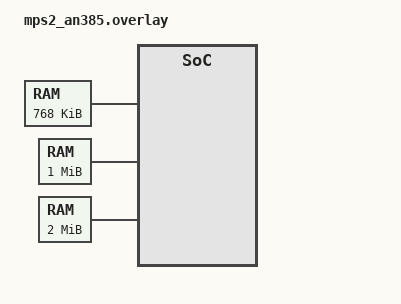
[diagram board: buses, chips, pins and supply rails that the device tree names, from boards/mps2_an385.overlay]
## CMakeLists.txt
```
# Copyright (c) 2026 The Zephyr Project Contributors
#
# SPDX-License-Identifier: Apache-2.0

cmake_minimum_required(VERSION 3.20.0)

find_package(Zephyr REQUIRED HINTS $ENV{ZEPHYR_BASE})
project(mcuboot_ram_load_split)

target_sources(app PRIVATE src/main.c)
zephyr_linker_sources(SECTIONS ram_load_layout.ld)
```

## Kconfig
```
# Copyright (c) 2026 The Zephyr Project Contributors
# SPDX-License-Identifier: Apache-2.0

mainmenu "MCUboot split RAM-load test"

source "Kconfig.zephyr"
```

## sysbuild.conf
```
# Copyright (c) 2026 The Zephyr Project Contributors
#
# SPDX-License-Identifier: Apache-2.0

SB_CONFIG_BOOTLOADER_MCUBOOT=y
SB_CONFIG_BOOT_SIGNATURE_TYPE_ED25519=y
SB_CONFIG_BOOT_SIGNATURE_KEY_FILE="${ZEPHYR_MCUBOOT_MODULE_DIR}/root-ed25519.pem"
SB_CONFIG_MCUBOOT_MODE_RAM_LOAD=y
```

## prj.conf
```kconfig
CONFIG_BOOTLOADER_MCUBOOT=y
```

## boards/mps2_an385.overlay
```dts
/*
 * Copyright (c) 2026 The Zephyr Project Contributors
 *
 * SPDX-License-Identifier: Apache-2.0
 */

/delete-node/ &sram0;
/delete-node/ &{/sim_flash_controller/flash_sim@0/partitions};

/ {
	chosen {
		zephyr,flash = &flash0;
		zephyr,console = &uart0;
		zephyr,sram = &sram0;
		mcuboot,image-ram = &image_ram;

		/delete-property/ zephyr,code-partition;
	};

	image_ram: memory@20240000 {
		compatible = "mmio-sram";
		reg = <0x20240000 0x000c0000>;
	};

	sram0: memory@20300000 {
		compatible = "mmio-sram";
		reg = <0x20300000 0x00100000>;
	};

	flash_sim_region: memory@20040000 {
		compatible = "zephyr,memory-region", "mmio-sram";
		reg = <0x20040000 0x00200000>;
		ranges = <0x0 0x20040000 0x00200000>;
		zephyr,memory-region = "FlashSim";
		status = "okay";
		#address-cells = <1>;
		#size-cells = <1>;
	};
};

&sim_flash_controller {
	memory-region = <&flash_sim_region>;
};

&flash_sim0 {
	reg = <0x00000000 0x00200000>;
	erase-block-size = <4096>;
	write-block-size = <4>;
	#address-cells = <1>;
	#size-cells = <1>;
	ranges = <0x0 0x0 0x00200000>;

	partitions {
		ranges;
		#address-cells = <1>;
		#size-cells = <1>;

		boot_partition: partition@0 {
			compatible = "zephyr,mapped-partition";
			label = "mcuboot";
			reg = <0x00000000 0x00010000>;
		};

		slot0_partition: partition@10000 {
			compatible = "zephyr,mapped-partition";
			label = "image-0";
			reg = <0x00010000 0x00080000>;
		};

		slot1_partition: partition@90000 {
			compatible = "zephyr,mapped-partition";
			label = "image-1";
			reg = <0x00090000 0x00080000>;
		};
	};
};
```

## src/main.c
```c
/*
 * Copyright (c) 2026 The Zephyr Project Contributors
 *
 * SPDX-License-Identifier: Apache-2.0
 */

#include <stdint.h>

#include <zephyr/kernel.h>
#include <zephyr/linker/section_tags.h>

static volatile uint32_t initialized_words[] = {
	0x11223344,
	0x55667788,
	0xa5a5a5a5,
	0x5a5a5a5a,
};
static volatile uint32_t zeroed_words[4];
static __noinit volatile uint32_t preserved_word;

__ramfunc static uint32_t ram_function(void)
{
	return initialized_words[2];
}

int main(void)
{
	static const uint32_t expected[] = {
		0x11223344,
		0x55667788,
		0xa5a5a5a5,
		0x5a5a5a5a,
	};

	for (size_t i = 0; i < ARRAY_SIZE(expected); ++i) {
		if (initialized_words[i] != expected[i] || zeroed_words[i] != 0U) {
			printk("FAIL: split RAM-load data\n");
			return 1;
		}
	}

	preserved_word = 0xc001c0de;
	if (preserved_word != 0xc001c0de || ram_function() != expected[2]) {
		printk("FAIL: split RAM-load special section\n");
		return 1;
	}

	printk("PASS: split RAM-load initialized data\n");
	return 0;
}
```
